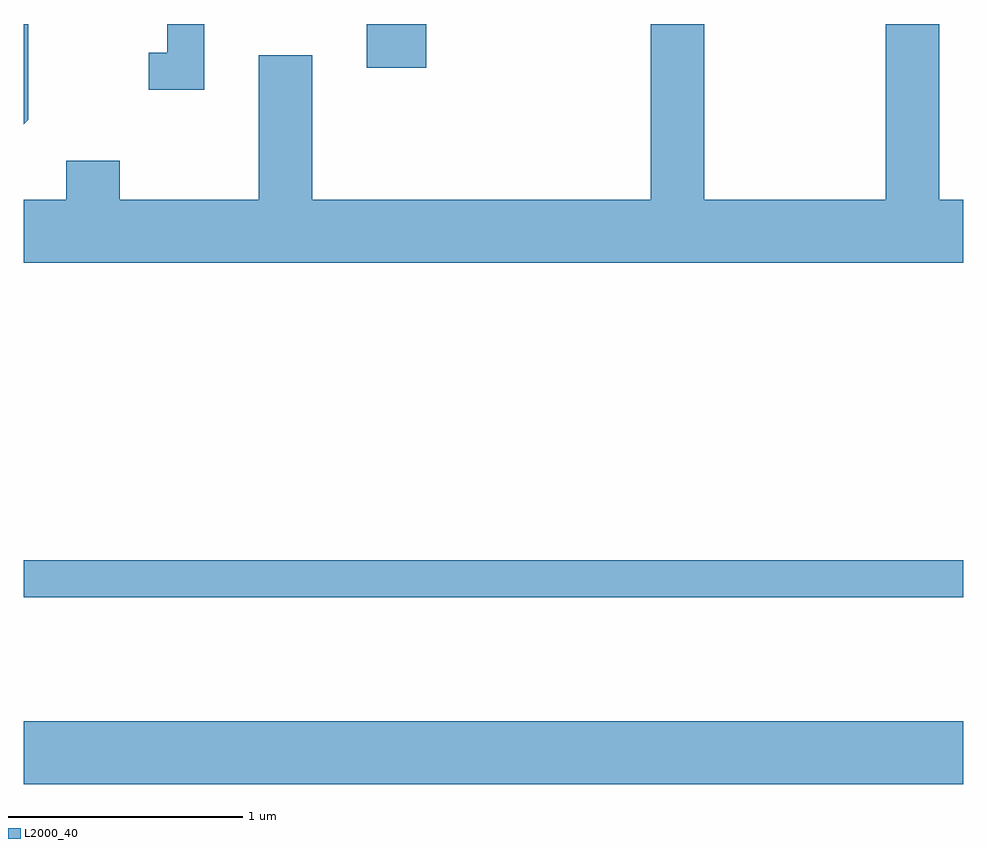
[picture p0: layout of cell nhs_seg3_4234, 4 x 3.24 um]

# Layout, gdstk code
import gdstk
lib = gdstk.Library(unit=1e-6, precision=1e-09)
def R(c, l, rs):  # rectangles x0, y0, x1, y1
    for r in rs: c.add(gdstk.rectangle(r[:2], r[2:], *l))
def P(c, l, *ps):  # polygons
    for p in ps: c.add(gdstk.Polygon(p, *l))
L2000_40 = (2000, 40)

nhs_seg3_4234 = lib.new_cell('nhs_seg3_4234')
R(nhs_seg3_4234, L2000_40, [(309.611,1152.656,313.611,1152.924), (309.611,1153.451,313.611,1153.609), (311.071,1155.706,311.324,1155.892)])
P(nhs_seg3_4234, L2000_40, [(313.611,1155.144),(313.509,1155.144),(313.509,1155.892),(313.281,1155.892),(313.281,1155.144),(312.509,1155.144),(312.509,1155.892),(312.281,1155.892),(312.281,1155.144),(310.839,1155.144),(310.839,1155.759),(310.611,1155.759),(310.611,1155.144),(310.019,1155.144),(310.019,1155.309),(309.791,1155.309),(309.791,1155.144),(309.611,1155.144),(309.611,1154.876),(313.611,1154.876)],
  [(309.629,1155.484),(309.629,1155.892),(309.611,1155.892),(309.611,1155.466)],
  [(310.379,1155.892),(310.221,1155.892),(310.221,1155.769),(310.143,1155.769),(310.143,1155.611),(310.379,1155.611)])

lib.write_gds('nhs_seg3_4234.gds')
